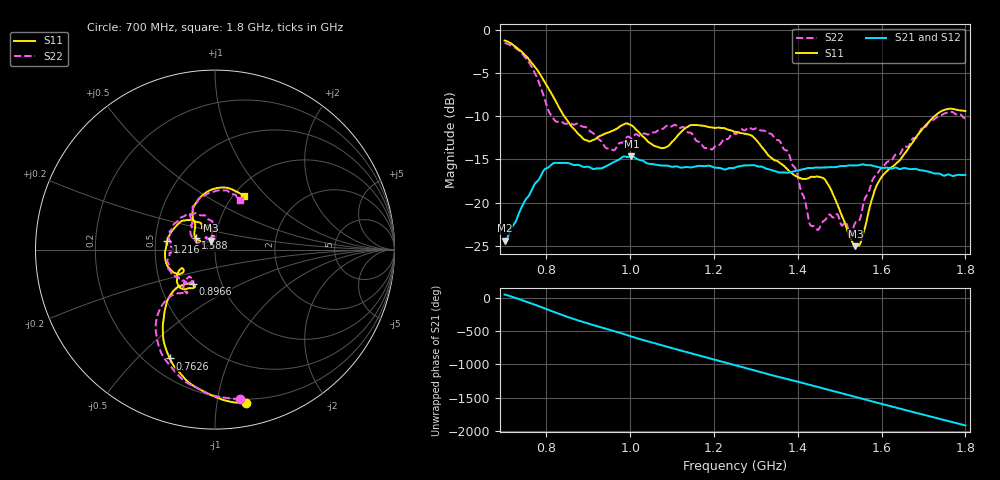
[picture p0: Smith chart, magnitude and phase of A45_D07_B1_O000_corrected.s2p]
! Created with skrf 1.9.0 (http://scikit-rf.org).
# Hz S RI R 50.0
!freq ReS11 ImS11 ReS21 ImS21 ReS12 ImS12 ReS22 ImS22
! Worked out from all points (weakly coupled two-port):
!   1601 points, 700 MHz to 1.8 GHz, reference 50 ohm
!   highest |S21| = -14.61 dB at 1.002 GHz (marker M1); lowest = -24.4 dB at 700.7 MHz (marker M2)
!   lowest |S11| = -25.1 dB at 1.537 GHz (marker M3), VSWR 1.12, Z = 47.3 + j4.74 ohm
!   |S11| at or under -10 dB: 842.6 MHz to 1.726 GHz (883 MHz wide, 68.8 % of centre)
!   |S22| runs from -23.8 to -1.5 dB; largest |S21 - S12| = 0.0034
!   S11 on the Smith chart (normalised r, x): 700 MHz: 0.17, -1.21; 762.6 MHz: 0.29, -0.63; 896.6 MHz: 0.73, -0.29; 1.216 GHz: 0.58, +0.06; 1.588 GHz: 0.80, +0.11; 1.8 GHz: 1.12, +0.75
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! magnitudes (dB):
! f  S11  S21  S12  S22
! 700 MHz  -1.2  -24.4  -24.2  -1.5
! 700.7 MHz  -1.2  -24.4  -24.1  -1.5
! 762.6 MHz  -3.7  -18.8  -18.7  -4.1
! 817.6 MHz  -7.8  -15.4  -15.5  -10.3
! 883.6 MHz  -12.4  -15.8  -15.7  -11.1
! 896.6 MHz  -12.8  -15.8  -15.9  -11.3
! 957.8 MHz  -11.7  -15.4  -15.4  -13.9
! 1.002 GHz  -11.0  -14.6  -14.7  -12.5
! 1.067 GHz  -13.6  -15.7  -15.6  -11.6
! 1.143 GHz  -11.0  -15.9  -15.9  -11.9
! 1.216 GHz  -11.3  -16.0  -16.0  -13.2
! 1.25 GHz  -11.8  -15.9  -15.9  -12.0
! 1.357 GHz  -15.4  -16.5  -16.4  -12.9
! 1.396 GHz  -16.9  -16.3  -16.3  -16.2
! 1.434 GHz  -17.0  -16.0  -16.0  -22.7
! 1.471 GHz  -17.8  -15.9  -15.9  -21.6
! 1.537 GHz  -25.1  -15.7  -15.7  -22.3
! 1.551 GHz  -24.5  -15.6  -15.6  -21.4
! 1.588 GHz  -18.0  -15.8  -15.8  -16.7
! 1.617 GHz  -16.2  -16.0  -16.0  -15.2
! 1.733 GHz  -9.7  -16.6  -16.7  -10.1
! 1.8 GHz  -9.4  -16.8  -16.8  -10.2
